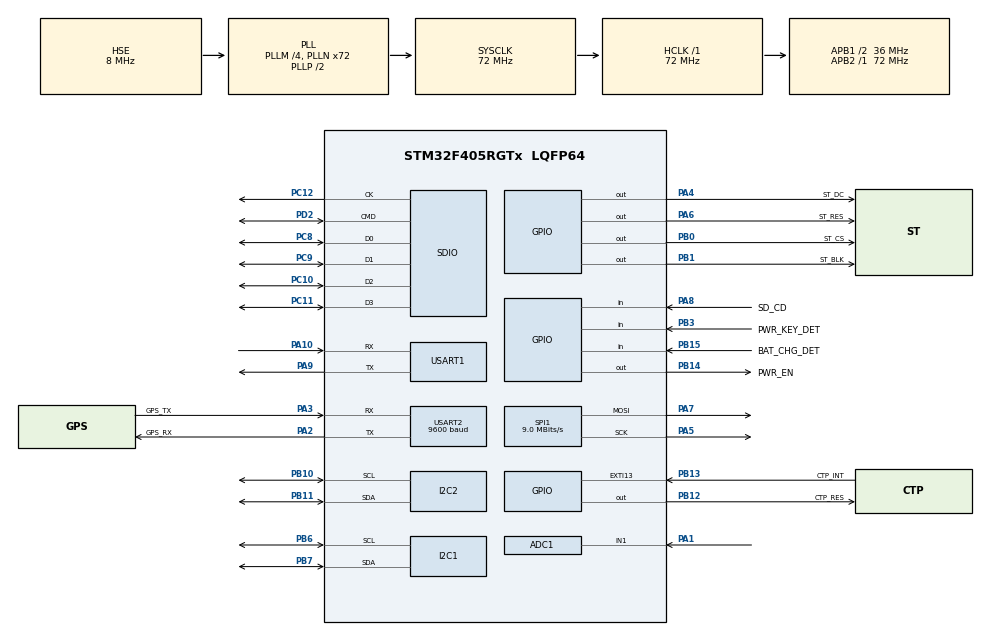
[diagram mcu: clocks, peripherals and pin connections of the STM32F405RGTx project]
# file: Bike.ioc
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ADC1.Channel-0\#ChannelRegularConversion=ADC_CHANNEL_1
ADC1.ContinuousConvMode=ENABLE
ADC1.NbrOfConversionFlag=1
ADC1.Rank-0\#ChannelRegularConversion=1
ADC1.SamplingTime-0\#ChannelRegularConversion=ADC_SAMPLETIME_15CYCLES
ADC1.master=1
Dma.Request0=SPI1_TX
Dma.Request1=SDIO
Dma.SDIO.1.Direction=DMA_PERIPH_TO_MEMORY
Dma.SDIO.1.FIFOMode=DMA_FIFOMODE_ENABLE
Dma.SDIO.1.FIFOThreshold=DMA_FIFO_THRESHOLD_FULL
Dma.SDIO.1.Instance=DMA2_Stream6
Dma.SDIO.1.MemBurst=DMA_MBURST_INC4
Dma.SDIO.1.MemDataAlignment=DMA_MDATAALIGN_WORD
Dma.SDIO.1.MemInc=DMA_MINC_ENABLE
Dma.SDIO.1.Mode=DMA_PFCTRL
Dma.SDIO.1.PeriphBurst=DMA_PBURST_INC4
Dma.SDIO.1.PeriphDataAlignment=DMA_PDATAALIGN_WORD
Dma.SDIO.1.PeriphInc=DMA_PINC_DISABLE
Dma.SDIO.1.Priority=DMA_PRIORITY_LOW
Dma.SPI1_TX.0.Direction=DMA_MEMORY_TO_PERIPH
Dma.SPI1_TX.0.FIFOMode=DMA_FIFOMODE_DISABLE
Dma.SPI1_TX.0.Instance=DMA2_Stream3
Dma.SPI1_TX.0.MemDataAlignment=DMA_MDATAALIGN_HALFWORD
Dma.SPI1_TX.0.MemInc=DMA_MINC_ENABLE
Dma.SPI1_TX.0.Mode=DMA_NORMAL
Dma.SPI1_TX.0.PeriphDataAlignment=DMA_PDATAALIGN_HALFWORD
Dma.SPI1_TX.0.PeriphInc=DMA_PINC_DISABLE
Dma.SPI1_TX.0.Priority=DMA_PRIORITY_LOW
FATFS.BSP.number=1
FATFS0.BSP.STBoard=false
FATFS0.BSP.api=Unknown
FATFS0.BSP.instance=PA8
FATFS0.BSP.ip=GPIO
FATFS0.BSP.mode=Input
FATFS0.BSP.name=Detect_SDIO
FATFS0.BSP.solution=PA8
FREERTOS.Tasks01=mainTask,24,4096,MainTaskFunc,Default,NULL,Dynamic,NULL,NULL;powerTask,8,256,PowerTaskFunc,Default,NULL,Dynamic,NULL,NULL;gpsTask,16,256,GPSTaskFunc,Default,NULL,Dynamic,NULL,NULL;imuTask,15,512,ImuTaskFunc,Default,NULL,Dynamic,NULL,NULL
FREERTOS.configTOTAL_HEAP_SIZE=40960
I2C1.I2C_Mode=I2C_Fast
I2C2.I2C_Mode=I2C_Fast
Mcu.Family=STM32F4
Mcu.Name=STM32F405RGTx
Mcu.Package=LQFP64
NVIC.DMA2_Stream3_IRQn=true\:5\:0\:false\:false\:true\:true\:false\:true\:true
NVIC.DMA2_Stream6_IRQn=true\:5\:0\:false\:false\:true\:true\:false\:true\:true
NVIC.EXTI15_10_IRQn=true\:5\:0\:false\:false\:true\:true\:true\:true\:true
NVIC.PriorityGroup=NVIC_PRIORITYGROUP_4
NVIC.TIM7_IRQn=true\:15\:0\:false\:false\:true\:false\:false\:true\:true
NVIC.TimeBase=TIM7_IRQn
NVIC.TimeBaseIP=TIM7
NVIC.USART2_IRQn=true\:5\:0\:false\:false\:true\:true\:true\:true\:true
PA1.Signal=ADCx_IN1
PA10.Mode=Asynchronous
PA10.Signal=USART1_RX
PA13.Mode=Serial_Wire
PA13.Signal=SYS_JTMS-SWDIO
PA14.Mode=Serial_Wire
PA14.Signal=SYS_JTCK-SWCLK
PA2.GPIO_Label=GPS_RX
PA2.Mode=Asynchronous
PA2.Signal=USART2_TX
PA3.GPIO_Label=GPS_TX
PA3.Mode=Asynchronous
PA3.Signal=USART2_RX
PA4.GPIO_Label=ST_DC
PA4.GPIO_Speed=GPIO_SPEED_FREQ_HIGH
PA4.Signal=GPIO_Output
PA5.Mode=TX_Only_Simplex_Unidirect_Master
PA5.Signal=SPI1_SCK
PA6.GPIO_Label=ST_RES
PA6.GPIO_Speed=GPIO_SPEED_FREQ_HIGH
PA6.PinState=GPIO_PIN_SET
PA6.Signal=GPIO_Output
PA7.Mode=TX_Only_Simplex_Unidirect_Master
PA7.Signal=SPI1_MOSI
PA8.GPIO_Label=SD_CD
PA8.GPIO_PuPd=GPIO_PULLUP
PA8.Signal=GPIO_Input
PA9.Mode=Asynchronous
PA9.Signal=USART1_TX
PB0.GPIO_Label=ST_CS
PB0.GPIO_Speed=GPIO_SPEED_FREQ_HIGH
PB0.PinState=GPIO_PIN_SET
PB0.Signal=GPIO_Output
PB1.GPIO_Label=ST_BLK
PB1.GPIO_Speed=GPIO_SPEED_FREQ_HIGH
PB1.PinState=GPIO_PIN_SET
PB1.Signal=GPIO_Output
PB10.Mode=I2C
PB10.Signal=I2C2_SCL
PB11.Mode=I2C
PB11.Signal=I2C2_SDA
PB12.GPIO_Label=CTP_RES
PB12.GPIO_Speed=GPIO_SPEED_FREQ_HIGH
PB12.PinState=GPIO_PIN_SET
PB12.Signal=GPIO_Output
PB13.GPIO_Label=CTP_INT
PB13.GPIO_ModeDefaultEXTI=GPIO_MODE_IT_RISING
PB13.GPIO_PuPd=GPIO_PULLDOWN
PB13.Signal=GPXTI13
PB14.GPIO_Label=PWR_EN
PB14.GPIO_Speed=GPIO_SPEED_FREQ_HIGH
PB14.PinState=GPIO_PIN_SET
PB14.Signal=GPIO_Output
PB15.GPIO_Label=BAT_CHG_DET
PB15.GPIO_PuPd=GPIO_PULLUP
PB15.Signal=GPIO_Input
PB3.GPIO_Label=PWR_KEY_DET
PB3.GPIO_PuPd=GPIO_PULLUP
PB3.Signal=GPIO_Input
PB6.Mode=I2C
PB6.Signal=I2C1_SCL
PB7.Mode=I2C
PB7.Signal=I2C1_SDA
PC10.Mode=SD_4_bits_Wide_bus
PC10.Signal=SDIO_D2
PC11.Mode=SD_4_bits_Wide_bus
PC11.Signal=SDIO_D3
PC12.Mode=SD_4_bits_Wide_bus
PC12.Signal=SDIO_CK
PC14-OSC32_IN.Mode=LSE-External-Oscillator
PC14-OSC32_IN.Signal=RCC_OSC32_IN
PC15-OSC32_OUT.Mode=LSE-External-Oscillator
PC15-OSC32_OUT.Signal=RCC_OSC32_OUT
PC8.Mode=SD_4_bits_Wide_bus
PC8.Signal=SDIO_D0
PC9.Mode=SD_4_bits_Wide_bus
PC9.Signal=SDIO_D1
PD2.Mode=SD_4_bits_Wide_bus
PD2.Signal=SDIO_CMD
PH0-OSC_IN.Mode=HSE-External-Oscillator
PH0-OSC_IN.Signal=RCC_OSC_IN
PH1-OSC_OUT.Mode=HSE-External-Oscillator
PH1-OSC_OUT.Signal=RCC_OSC_OUT
ProjectManager.HeapSize=0x3000
ProjectManager.StackSize=0x4000
ProjectManager.TargetToolchain=MDK-ARM V5.32
RCC.48MHZClocksFreq_Value=48000000
RCC.AHBFreq_Value=72000000
RCC.APB1CLKDivider=RCC_HCLK_DIV2
RCC.APB1Freq_Value=36000000
RCC.APB1TimFreq_Value=72000000
RCC.APB2Freq_Value=72000000
RCC.APB2TimFreq_Value=72000000
RCC.CortexFreq_Value=72000000
RCC.HCLKFreq_Value=72000000
RCC.HSE_VALUE=8000000
RCC.HSI_VALUE=16000000
RCC.PLLM=4
RCC.PLLN=72
RCC.PLLQ=3
RCC.PLLSourceVirtual=RCC_PLLSOURCE_HSE
RCC.SYSCLKFreq_VALUE=72000000
RCC.SYSCLKSource=RCC_SYSCLKSOURCE_PLLCLK
RCC.VCOOutputFreq_Value=144000000
SDIO.ClockDiv=6
SDIO.HardwareFlowControl=SDIO_HARDWARE_FLOW_CONTROL_ENABLE
SH.ADCx_IN1.0=ADC1_IN1,IN1
SPI1.BaudRatePrescaler=SPI_BAUDRATEPRESCALER_8
SPI1.CalculateBaudRate=9.0 MBits/s
SPI1.Direction=SPI_DIRECTION_2LINES
SPI1.Mode=SPI_MODE_MASTER
SPI1.VirtualType=VM_MASTER
USART1.VirtualMode=VM_ASYNC
USART2.BaudRate=9600
USART2.VirtualMode=VM_ASYNC
VP_FATFS_VS_SDIO.Mode=SDIO
VP_FREERTOS_VS_CMSIS_V2.Mode=CMSIS_V2
VP_SYS_VS_tim7.Mode=TIM7
board=custom

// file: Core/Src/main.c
/* USER CODE BEGIN Header */
/**
  ******************************************************************************
  * @file           : main.c
  * @brief          : Main program body
  ******************************************************************************
  * @attention
  *
  * Copyright (c) 2026 STMicroelectronics.
  * All rights reserved.
  *
  * This software is licensed under terms that can be found in the LICENSE file
  * in the root directory of this software component.
  * If no LICENSE file comes with this software, it is provided AS-IS.
  *
  ******************************************************************************
  */
/* USER CODE END Header */
#include "main.h"
#include "cmsis_os.h"
#include "adc.h"
#include "dma.h"
#include "fatfs.h"
#include "i2c.h"
#include "sdio.h"
#include "spi.h"
#include "usart.h"
#include "gpio.h"

/* USER CODE BEGIN Includes */
#include "Com_Debug.h"

/* USER CODE END Includes */

void SystemClock_Config(void);
void MX_FREERTOS_Init(void);

int main(void)
{

  /* MCU Configuration--------------------------------------------------------*/

  /* Reset of all peripherals, Initializes the Flash interface and the Systick. */
  HAL_Init();

  /* Configure the system clock */
  SystemClock_Config();

  /* Initialize all configured peripherals */
  MX_GPIO_Init();
  MX_DMA_Init();
  MX_USART1_UART_Init();
  /* USER CODE BEGIN BootProbe */
  const uint8_t uart_probe_msg[] = "\r\n[Bike] HAL UART direct boot\r\n";
  HAL_UART_Transmit(&huart1, (uint8_t *)uart_probe_msg,
                    sizeof(uart_probe_msg) - 1U, HAL_MAX_DELAY);
  /* USER CODE END BootProbe */
  MX_I2C1_Init();
  MX_I2C2_Init();
  MX_SPI1_Init();
  MX_SDIO_SD_Init();
  MX_FATFS_Init();
  MX_ADC1_Init();
  MX_USART2_UART_Init();
  /* USER CODE BEGIN 2 */
  COM_DEBUG_LN(" [Bike] boot ok: USART1 PA9(TX)/PA10(RX), 115200 8N1");

  /* USER CODE END 2 */

  /* Init scheduler */
  osKernelInitialize();  /* Call init function for freertos objects (in cmsis_os2.c) */
  MX_FREERTOS_Init();

  /* Start scheduler */
  osKernelStart();

  /* We should never get here as control is now taken by the scheduler */

  /* Infinite loop */
  while (1)
  {

  }
}

void SystemClock_Config(void)
{
  RCC_OscInitTypeDef RCC_OscInitStruct = {0};
  RCC_ClkInitTypeDef RCC_ClkInitStruct = {0};

  /** Configure the main internal regulator output voltage
  */
  __HAL_RCC_PWR_CLK_ENABLE();
  __HAL_PWR_VOLTAGESCALING_CONFIG(PWR_REGULATOR_VOLTAGE_SCALE1);

  /** Initializes the RCC Oscillators according to the specified parameters
  * in the RCC_OscInitTypeDef structure.
  */
  RCC_OscInitStruct.OscillatorType = RCC_OSCILLATORTYPE_HSE;
  RCC_OscInitStruct.HSEState = RCC_HSE_ON;
  RCC_OscInitStruct.PLL.PLLState = RCC_PLL_ON;
  RCC_OscInitStruct.PLL.PLLSource = RCC_PLLSOURCE_HSE;
  RCC_OscInitStruct.PLL.PLLM = 4;
  RCC_OscInitStruct.PLL.PLLN = 72;
  RCC_OscInitStruct.PLL.PLLP = RCC_PLLP_DIV2;
  RCC_OscInitStruct.PLL.PLLQ = 3;
  if (HAL_RCC_OscConfig(&RCC_OscInitStruct) != HAL_OK)
  {
    Error_Handler();
  }

  /** Initializes the CPU, AHB and APB buses clocks
  */
  RCC_ClkInitStruct.ClockType = RCC_CLOCKTYPE_HCLK|RCC_CLOCKTYPE_SYSCLK
                              |RCC_CLOCKTYPE_PCLK1|RCC_CLOCKTYPE_PCLK2;
  RCC_ClkInitStruct.SYSCLKSource = RCC_SYSCLKSOURCE_PLLCLK;
  RCC_ClkInitStruct.AHBCLKDivider = RCC_SYSCLK_DIV1;
  RCC_ClkInitStruct.APB1CLKDivider = RCC_HCLK_DIV2;
  RCC_ClkInitStruct.APB2CLKDivider = RCC_HCLK_DIV1;

  if (HAL_RCC_ClockConfig(&RCC_ClkInitStruct, FLASH_LATENCY_2) != HAL_OK)
  {
    Error_Handler();
  }
}

void HAL_TIM_PeriodElapsedCallback(TIM_HandleTypeDef *htim)
{
  if (htim->Instance == TIM7)
  {
    HAL_IncTick();
  }
}

void Error_Handler(void)
{
  __disable_irq();
  while (1)
  {
  }
}

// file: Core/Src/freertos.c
/* USER CODE BEGIN Header */
/**
 ******************************************************************************
 * File Name          : freertos.c
 * Description        : Code for freertos applications
 ******************************************************************************
 * @attention
 *
 * Copyright (c) 2026 STMicroelectronics.
 * All rights reserved.
 *
 * This software is licensed under terms that can be found in the LICENSE file
 * in the root directory of this software component.
 * If no LICENSE file comes with this software, it is provided AS-IS.
 *
 ******************************************************************************
 */
/* USER CODE END Header */

#include "FreeRTOS.h"
#include "task.h"
#include "main.h"
#include "cmsis_os.h"

/* USER CODE BEGIN Includes */
#include "Com_Debug.h"
#include "Inf_CST6189.h"
#include "lvgl.h"
#include "lv_port_disp.h"
#include "lv_port_indev.h"
#include "ui.h"
#include "lv_demos.h"
#include "fatfs.h"
#include "Inf_power.h"
#include "Inf_ATGM336H.h"
#include "Inf_LSM6DSM.h"
#include "Inf_Slope.h"
#include "Inf_LastLocation.h"
#include <math.h>
#include <string.h>
/* USER CODE END Includes */

/* USER CODE BEGIN PD */
#define GPS_TASK_POLL_MS 200U
#define GPS_MAX_FIX_INTERVAL_MS 5000U
#define GPS_MOVING_SPEED_THRESHOLD_KMH 0.5f
#define GPS_LAST_LOCATION_SAVE_INTERVAL_MS 10000U
#define GPS_MIN_DISTANCE_SATELLITES 4U
#define GPS_MIN_MOVE_DISTANCE_M 0.5f
#define GPS_MAX_REASONABLE_SPEED_KMH 120.0f
#define GPS_EARTH_RADIUS_M 6371000.0f
#define GPS_DEG_TO_RAD 0.017453292519943295f
#define GPS_DEBUG_VIRTUAL_LOCATION 0
#define GPS_COORDINATE_USE_GCJ02 0
#define GPS_DEBUG_FRAME_LOG 1
#define GPS_DEBUG_VIRTUAL_LON 113.84f
#define GPS_DEBUG_VIRTUAL_LAT 22.63f
#define GPS_DEBUG_VIRTUAL_SATELLITES 8U
#define GPS_DEBUG_VIRTUAL_UPDATE_MS 1000U
#define POWER_DEBUG_DISABLE_SHUTDOWN GPS_DEBUG_VIRTUAL_LOCATION
#define POWER_TASK_POLL_MS 50U
#define POWER_UI_UPDATE_MS 1000U
#define POWER_DEBUG_LOG_MS 1000U
#define POWER_SHUTDOWN_NOTICE_MS 700U
#define POWER_SHUTDOWN_DELAY_MS 150U

// 判断电池是否在充电
bool charge = false ;
// 获取电池电压值
float v = 0.0f;
uint8_t batterySocPercent = 0U;
bool batteryLow = false;
bool batteryCritical = false;
uint8_t gpsSaleNum = 0;
float lon = 0.0f, lat = 0.0f;
float speed = 0.0f, distance = 0.0f;
float slope = 0.0f;
uint32_t rideTimeMs = 0U;
int rideTimeSec = 0;
bool bikeMoving = false;

/**
 * 更新lvgl标题电池图标
 */
void update_battery_callback(void *args){
  ui_updatePower(charge, v, batterySocPercent, batteryLow, batteryCritical);
}

void show_power_message_callback(void *args){
  ui_showPowerMessage((const char *)args);
}

static void power_shutdown_sequence(const char *message)
{
  COM_DEBUG_LN("shutdown start: %s", message);
  lv_async_call(show_power_message_callback, (void *)message);
  osDelay(POWER_SHUTDOWN_NOTICE_MS);
  (void)f_mount(NULL, "", 1);
  HAL_GPIO_WritePin(ST_BLK_GPIO_Port, ST_BLK_Pin, GPIO_PIN_RESET);
  osDelay(POWER_SHUTDOWN_DELAY_MS);
  Inf_Power_PowerOFF();
  for (;;)
  {
    osDelay(1000);
  }
}

void update_gps_satellite_callback(void *args){
  lv_subject_set_int(&saleNumSubject, gpsSaleNum);
}

//更新码表数据
void update_bike_callback(void *args){
  lv_subject_set_float(&lonSubject, lon);
  lv_subject_set_float(&latSubject, lat);
  lv_subject_set_float(&speedSubject, speed);
  lv_subject_set_float(&distanceSubject, distance);
  lv_subject_snprintf(&timeSubject, "%02d : %02d", rideTimeSec / 60, rideTimeSec % 60);
  ui_roadmap_update_user_location();
  ui_upateBikeState(bikeMoving ? speed : 0.0f);
}

void update_slope_callback(void *args){
  (void)args;
  lv_subject_set_float(&slopeSubject, slope);
}

static bool parse_gga_satellite_num(const char *gga, uint8_t *sat_num)
{
  const char *p = gga;
  uint8_t comma_count = 0;
  uint16_t value = 0;

  while (*p != '\0' && comma_count < 7)
  {
    if (*p == ',')
    {
      comma_count++;
    }
    p++;
  }

  if (comma_count != 7 || *p < '0' || *p > '9')
  {
    return false;
  }

  while (*p >= '0' && *p <= '9')
  {
    value = (uint16_t)(value * 10U + (uint16_t)(*p - '0'));
    if (value > 99U)
    {
      return false;
    }
    p++;
  }

  *sat_num = (uint8_t)value;
  return true;
}

static float nmea_to_degree(float nmea_value)
{
  int degree = (int)(nmea_value / 100.0f);
  float minute = nmea_value - (float)(degree * 100);

  return (float)degree + minute / 60.0f;
}

static bool move_after_next_comma(const char **cursor)
{
  const char *comma = strchr(*cursor, ',');

  if (comma == NULL) {
    return false;
  }

  *cursor = comma + 1;
  return true;
}

static bool parse_nmea_float_field(const char *field, float *value, const char **end)
{
  bool hasDigit = false;
  float integer = 0.0f;
  float fraction = 0.0f;
  float scale = 1.0f;
  float sign = 1.0f;
  const char *p = field;

  if (*p == '-') {
    sign = -1.0f;
    p++;
  } else if (*p == '+') {
    p++;
  }

  while (*p >= '0' && *p <= '9') {
    hasDigit = true;
    integer = integer * 10.0f + (float)(*p - '0');
    p++;
  }

  if (*p == '.') {
    p++;
    while (*p >= '0' && *p <= '9') {
      hasDigit = true;
      fraction = fraction * 10.0f + (float)(*p - '0');
      scale *= 10.0f;
      p++;
    }
  }

  if (!hasDigit) {
    return false;
  }

  *value = sign * (integer + fraction / scale);
  if (end != NULL) {
    *end = p;
  }
  return true;
}

static bool parse_rmc_location(const char *rmc,
                               float *out_lat,
                               char *out_lat_dir,
                               float *out_lon,
                               char *out_lon_dir,
                               float *out_speed)
{
  const char *p = rmc;

  if (!move_after_next_comma(&p)) {
    return false;
  }

  if (!move_after_next_comma(&p)) {
    return false;
  }

  if (*p != 'A') {
    return false;
  }

  if (!move_after_next_comma(&p)) {
    return false;
  }

  if (!parse_nmea_float_field(p, out_lat, &p) || *p != ',') {
    return false;
  }

  p++;
  if (*p != 'N' && *p != 'S') {
    return false;
  }
  *out_lat_dir = *p;

  if (!move_after_next_comma(&p)) {
    return false;
  }

  if (!parse_nmea_float_field(p, out_lon, &p) || *p != ',') {
    return false;
  }

  p++;
  if (*p != 'E' && *p != 'W') {
    return false;
  }
  *out_lon_dir = *p;

  if (!move_after_next_comma(&p)) {
    return false;
  }

  if (*p == ',' || *p == '*' || *p == '\0') {
    *out_speed = 0.0f;
  } else if (!parse_nmea_float_field(p, out_speed, NULL)) {
    return false;
  }

  return true;
}

static float gps_distance_m(float from_lat, float from_lon, float to_lat, float to_lon)
{
  float lat1 = from_lat * GPS_DEG_TO_RAD;
  float lat2 = to_lat * GPS_DEG_TO_RAD;
  float dlat = (to_lat - from_lat) * GPS_DEG_TO_RAD;
  float dlon = (to_lon - from_lon) * GPS_DEG_TO_RAD;
  float mean_lat = (lat1 + lat2) * 0.5f;
  float x = dlon * cosf(mean_lat);
  float y = dlat;

  return sqrtf((x * x) + (y * y)) * GPS_EARTH_RADIUS_M;
}

/* USER CODE END PD */

/* Definitions for mainTask */
osThreadId_t mainTaskHandle;
const osThreadAttr_t mainTask_attributes = {
  .name = "mainTask",
  .stack_size = 4096 * 4,
  .priority = (osPriority_t) osPriorityNormal,
};
/* Definitions for powerTask */
osThreadId_t powerTaskHandle;
const osThreadAttr_t powerTask_attributes = {
  .name = "powerTask",
  .stack_size = 256 * 4,
  .priority = (osPriority_t) osPriorityLow,
};
/* Definitions for gpsTask */
osThreadId_t gpsTaskHandle;
const osThreadAttr_t gpsTask_attributes = {
  .name = "gpsTask",
  .stack_size = 512 * 4,
  .priority = (osPriority_t) osPriorityBelowNormal,
};
/* Definitions for imuTask */
osThreadId_t imuTaskHandle;
const osThreadAttr_t imuTask_attributes = {
  .name = "imuTask",
  .stack_size = 512 * 4,
  .priority = (osPriority_t) osPriorityLow7,
};

void MainTaskFunc(void *argument);
void PowerTaskFunc(void *argument);
void GPSTaskFunc(void *argument);
void ImuTaskFunc(void *argument);

void MX_FREERTOS_Init(void); /* (MISRA C 2004 rule 8.1) */

void MX_FREERTOS_Init(void) {

  /* Create the thread(s) */
  /* creation of mainTask */
  mainTaskHandle = osThreadNew(MainTaskFunc, NULL, &mainTask_attributes);

  /* creation of powerTask */
  powerTaskHandle = osThreadNew(PowerTaskFunc, NULL, &powerTask_attributes);

  /* creation of gpsTask */
  gpsTaskHandle = osThreadNew(GPSTaskFunc, NULL, &gpsTask_attributes);

  /* creation of imuTask */
  imuTaskHandle = osThreadNew(ImuTaskFunc, NULL, &imuTask_attributes);

}

void MainTaskFunc(void *argument)
{
  /* USER CODE BEGIN MainTaskFunc */

  /* Infinite loop */
  // 启动时需要立即挂载 SD，否则上次定位和地图瓦片会在首次访问时失败。
  const char *mountPath = (SDPath[0] != '\0') ? SDPath : "0:";
  FRESULT mountResult = f_mount(&SDFatFS, mountPath, 1);
  COM_DEBUG_LN("fatfs mount path=%s res=%d", mountPath, mountResult);
#if GPS_DEBUG_VIRTUAL_LOCATION
  lon = GPS_DEBUG_VIRTUAL_LON;
  lat = GPS_DEBUG_VIRTUAL_LAT;
  gpsSaleNum = GPS_DEBUG_VIRTUAL_SATELLITES;
  speed = 0.0f;
  bikeMoving = false;
  ui_setInitialLocation(lon, lat);
  COM_DEBUG_LN("GPS virtual initial lat=%f lon=%f sat=%u",
               lat,
               lon,
               (unsigned int)gpsSaleNum);
#else
  {
    Inf_LastLocation lastLocation;

    if ((mountResult == FR_OK) && Inf_LastLocation_Load(&lastLocation))
    {
      lon = lastLocation.lon;
      lat = lastLocation.lat;
      ui_setInitialLocation(lon, lat);
      COM_DEBUG_LN("last location loaded lat=%f lon=%f", lat, lon);
    }
  }
#endif
  // 初始化lvgl
  lv_init();

  // 设置获取当前时间回调
  lv_tick_set_cb(xTaskGetTickCount);
  // 设置延时回调
  lv_delay_set_cb(vTaskDelay);

  // 初始化输入、显示设备
  lv_port_disp_init();
  lv_port_indev_init();

  // 创建UI
  // 此方法主要用于测试显卡的，换一个可以测试剪贴
  //  lv_demo_benchmark();
  // lv_demo_widgets();
  ui_create();

  // uint16_t x= 0,y =0;
  for (;;)
  {
    // if(Inf_CST816D_IsPressed()){
    //   Inf_CST816D_GetXY(&x,&y);
    //   COM_DEBUG_LN("x = %d , y = %d ",x,y );

    // 获取下次循环所需剩余时间
    uint32_t tm = lv_timer_handler();
    if (tm < 5)
      tm = 5;

    // }
    osDelay(tm);
  }
  /* USER CODE END MainTaskFunc */
}

void PowerTaskFunc(void *argument)
{
  /* USER CODE BEGIN PowerTaskFunc */
  uint32_t uiUpdateElapsedMs = POWER_UI_UPDATE_MS;
  uint32_t debugElapsedMs = POWER_DEBUG_LOG_MS;
  const Inf_Power_BatteryState *battery;

  /* Infinite loop */
  // 初始化
  Inf_Power_Init();

  for (;;)
  {
    Inf_Power_Update();
    Inf_Power_KeyScan(POWER_TASK_POLL_MS);
    battery = Inf_Power_GetBatteryState();

    charge = battery->isCharging;
    v = ((float)battery->voltageMv) / 1000.0f;
    batterySocPercent = battery->socPercent;
    batteryLow = battery->isLow;
    batteryCritical = battery->isCritical;

    if (Inf_Power_ShutdownRequested())
    {
#if POWER_DEBUG_DISABLE_SHUTDOWN
      COM_DEBUG_LN("power shutdown request ignored for debug key=%d",
                   HAL_GPIO_ReadPin(PWR_KEY_DET_GPIO_Port, PWR_KEY_DET_Pin));
      Inf_Power_ClearShutdownRequest();
#else
      power_shutdown_sequence("Shutting down");
#endif
    }

    if (battery->isValid && battery->isCritical && !battery->isCharging)
    {
      power_shutdown_sequence("Battery critical");
    }

    uiUpdateElapsedMs += POWER_TASK_POLL_MS;
    if (uiUpdateElapsedMs >= POWER_UI_UPDATE_MS)
    {
      uiUpdateElapsedMs = 0U;
      lv_async_call(update_battery_callback, NULL);
    }

    debugElapsedMs += POWER_TASK_POLL_MS;
    if (debugElapsedMs >= POWER_DEBUG_LOG_MS)
    {
      debugElapsedMs = 0U;
      COM_DEBUG_LN("battery raw=%u mv=%u soc=%u charge=%d low=%d critical=%d key=%d",
                   battery->rawAdc,
                   battery->voltageMv,
                   battery->socPercent,
                   battery->isCharging ? 1 : 0,
                   battery->isLow ? 1 : 0,
                   battery->isCritical ? 1 : 0,
                   HAL_GPIO_ReadPin(PWR_KEY_DET_GPIO_Port, PWR_KEY_DET_Pin));
    }

    osDelay(POWER_TASK_POLL_MS);
  }
  /* USER CODE END PowerTaskFunc */
}

void GPSTaskFunc(void *argument)
{
  /* USER CODE BEGIN GPSTaskFunc */
#if GPS_DEBUG_VIRTUAL_LOCATION
  (void)argument;

  lon = GPS_DEBUG_VIRTUAL_LON;
  lat = GPS_DEBUG_VIRTUAL_LAT;
  gpsSaleNum = GPS_DEBUG_VIRTUAL_SATELLITES;
  speed = 0.0f;
  bikeMoving = false;

  osDelay(GPS_DEBUG_VIRTUAL_UPDATE_MS);
  for (;;)
  {
    lv_async_call(update_gps_satellite_callback, NULL);
    lv_async_call(update_bike_callback, NULL);
    COM_DEBUG_LN("GPS virtual update lat=%f lon=%f sat=%u",
                 lat,
                 lon,
                 (unsigned int)gpsSaleNum);
    osDelay(GPS_DEBUG_VIRTUAL_UPDATE_MS);
  }
#else
  /* Infinite loop */
  static char gpsFrame[LOC_BUFF_MAX_SIZE];
  char * str = NULL;
  uint8_t saleNum = 0;
  char lonDir = 0, latDir = 0;
  float parsedLon = 0.0f;
  float parsedLat = 0.0f;
  float rawLon = 0.0f;
  float rawLat = 0.0f;
  float parsedSpeed = 0.0f;
  uint32_t elapsedMs = 0U;
  TickType_t lastFixTime = 0;
  TickType_t currentTime = 0;
  bool hasLastFix = false;
  TickType_t lastLocationSaveTime = 0;
  bool hasLocationSaveAttempt = false;
  float lastDistanceLon = 0.0f;
  float lastDistanceLat = 0.0f;
  bool hasLastDistanceFix = false;
  Inf_ATGM336H_Init();
  for(;;)
  {
    Inf_ATGM336H_Poll();
    if(Inf_ATGM336H_TakeFrame(gpsFrame, sizeof(gpsFrame))){
#if GPS_DEBUG_FRAME_LOG
      COM_DEBUG_LN("GPS frame len=%u gga=%d rmc=%d",
                   (unsigned int)strlen(gpsFrame),
                   strstr(gpsFrame, "GGA,") != NULL ? 1 : 0,
                   strstr(gpsFrame, "RMC,") != NULL ? 1 : 0);
#endif
      //有数据需要接收
      //解析卫星个数
      str = strstr (gpsFrame,"GGA,");
      if (str != NULL){
        if (parse_gga_satellite_num(str, &saleNum)) {
          gpsSaleNum = saleNum;
          lv_async_call(update_gps_satellite_callback, NULL);
        }
      }

      str = strstr (gpsFrame,"RMC,");
      if (str != NULL){
        if(parse_rmc_location(str, &parsedLat, &latDir, &parsedLon, &lonDir, &parsedSpeed)){
          //有效数据，解析经纬度、方向、速度
          //将经纬度格式转换成°
          //纬度xxyy.yyy xx代表° yy.yyy代表′   需要转成 zz.ppp°
          //4006.818848 => 40 + 6.818848 / 60
          rawLat = nmea_to_degree(parsedLat);
          //经度xxxyy.yyy xxx代表° yy.yyy代表′ 需要转成 zzz.ppp°
          rawLon = nmea_to_degree(parsedLon);
          //南纬和西经是负值
          if( latDir == 'S' ){
            rawLat = -rawLat;
          }
          if( lonDir == 'W' ){
            rawLon = -rawLon;
          }

#if GPS_COORDINATE_USE_GCJ02
          //将GPS坐标系转成GCJ02坐标系
          gps_to_gcj02(rawLat, rawLon, &lat, &lon);
#else
          lat = rawLat;
          lon = rawLon;
#endif

          //转换速度的单位
          speed = parsedSpeed * 1.852f;

          //获取当前时间
          currentTime = xTaskGetTickCount();
          bikeMoving = false;
          if (hasLastFix) {
            elapsedMs = (uint32_t)((currentTime - lastFixTime) * portTICK_PERIOD_MS);
            if ((elapsedMs > 0U) && (elapsedMs <= GPS_MAX_FIX_INTERVAL_MS)) {
              float elapsedHour = ((float)elapsedMs) / 3600000.0f;

              if (hasLastDistanceFix && (elapsedHour > 0.0f)) {
                float deltaM = gps_distance_m(lastDistanceLat, lastDistanceLon, lat, lon);
                float deltaSpeedKmh = (deltaM / 1000.0f) / elapsedHour;

                if ((speed > GPS_MOVING_SPEED_THRESHOLD_KMH) &&
                    (gpsSaleNum >= GPS_MIN_DISTANCE_SATELLITES) &&
                    (deltaM >= GPS_MIN_MOVE_DISTANCE_M) &&
                    (deltaSpeedKmh <= GPS_MAX_REASONABLE_SPEED_KMH)) {
                  distance += deltaM / 1000.0f;
                  rideTimeMs += elapsedMs;
                  rideTimeSec = (int)(rideTimeMs / 1000U);
                  bikeMoving = true;
                }
              }
            } else if (elapsedMs > GPS_MAX_FIX_INTERVAL_MS) {
              COM_DEBUG_LN("GPS gap skip interval=%u ms", (unsigned int)elapsedMs);
            }
          } else {
            hasLastFix = true;
          }
          lastFixTime = currentTime;
          lastDistanceLon = lon;
          lastDistanceLat = lat;
          hasLastDistanceFix = true;

          if ((!hasLocationSaveAttempt) ||
              (((uint32_t)((currentTime - lastLocationSaveTime) * portTICK_PERIOD_MS)) >= GPS_LAST_LOCATION_SAVE_INTERVAL_MS))
          {
            bool saveOk = false;

            saveOk = Inf_LastLocation_Save(lon, lat);
            COM_DEBUG_LN("last location save %s lat=%f lon=%f sat=%u",
                         saveOk ? "ok" : "skip",
                         lat,
                         lon,
                         (unsigned int)gpsSaleNum);
            lastLocationSaveTime = currentTime;
            hasLocationSaveAttempt = true;
          }

          COM_DEBUG_LN("lat=%f lon=%f speed=%f distance=%f time=%d",lat,lon,speed,distance,rideTimeSec);
          //更新数据到lvgl
          lv_async_call( update_bike_callback, NULL );
        } else {
          speed = 0.0f;
          bikeMoving = false;
          COM_DEBUG_LN("GPS invalid RMC, speed forced to 0");
          lv_async_call(update_bike_callback, NULL);
        }
      }
    }
    osDelay(GPS_TASK_POLL_MS);
  }
#endif
  /* USER CODE END GPSTaskFunc */
}

void ImuTaskFunc(void *argument)
{
  /* USER CODE BEGIN ImuTaskFunc */
  (void)argument;

  TickType_t lastWake = xTaskGetTickCount();
  TickType_t previousSampleTick = lastWake;
  uint32_t logDivider = 0U;
  uint32_t uiDivider = 0U;

  for (;;)
  {
    if (!Inf_LSM6DSM_IsReady())
    {
      uint8_t id = Inf_LSM6DSM_ReadId();

      if (Inf_LSM6DSM_Init())
      {
        COM_DEBUG_LN("LSM6DSM init ok, WHO_AM_I=0x%02X", id);
        lastWake = xTaskGetTickCount();
        previousSampleTick = lastWake;
        logDivider = 0U;
        uiDivider = 0U;
        Inf_Slope_Init();
      }
      else
      {
        COM_DEBUG_LN("LSM6DSM init failed, WHO_AM_I=0x%02X", id);
        osDelay(1000);
      }
      continue;
    }

    if (Inf_LSM6DSM_GetAccGyro())
    {
      TickType_t nowTick = xTaskGetTickCount();
      uint32_t dtMs = (uint32_t)((nowTick - previousSampleTick) * portTICK_PERIOD_MS);
      bool slopeUpdated;
      const InfSlopeState *slopeState;

      previousSampleTick = nowTick;
      slopeUpdated = Inf_Slope_Update(&accgyro, dtMs);
      slopeState = Inf_Slope_GetState();

      if (slopeUpdated)
      {
        slope = Inf_Slope_GetPercent();
        uiDivider++;
        if (uiDivider >= 5U)
        {
          uiDivider = 0U;
          lv_async_call(update_slope_callback, NULL);
        }
      }

      logDivider++;
      if (logDivider >= 50U)
      {
        logDivider = 0U;
        COM_DEBUG_LN("IMU slope=%.1f%% pitch=%.1f st=%s acc=%.0f,%.0f,%.0f gyroY=%.0f",
                     slopeState->slope_percent,
                     slopeState->pitch_deg,
                     Inf_Slope_StatusName(slopeState->status),
                     accgyro.acc_x,
                     accgyro.acc_y,
                     accgyro.acc_z,
                     accgyro.gyro_y);
      }
    }
    else
    {
      logDivider++;
      if (logDivider >= 50U)
      {
        logDivider = 0U;
        COM_DEBUG_LN("LSM6DSM read failed");
      }
    }

    vTaskDelayUntil(&lastWake, pdMS_TO_TICKS(20U));
  }
  /* USER CODE END ImuTaskFunc */
}
